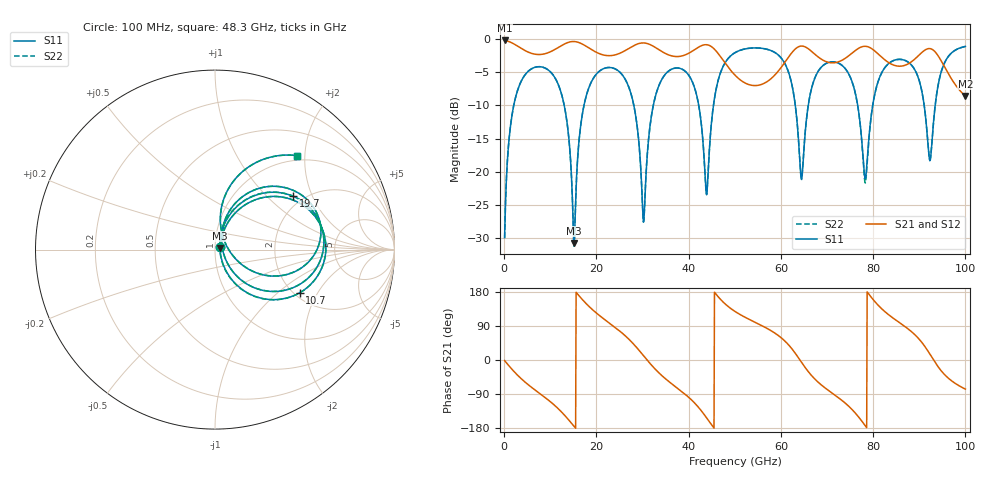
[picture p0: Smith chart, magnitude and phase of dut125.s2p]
! Touchstone file exported from HFSS 2026.1.0
!  File:  C:/ffzhzh/LocalFiles/Ansys_Project_Files/temp_train_TSV_RDL_125_1783459676_28540.aedt
!  Generated:  05:42:09 AM Jul  8, 2026
!  Design:  TSV_RDL
!  Project:  temp_train_TSV_RDL_125_1783459676_28540
! Variables:
!  h_bsmrdl = 2.55um
!  h_ox = 20um
!  h_rdl = 5um
!  h_sub = 59.6um
!  h_tmrdl = 2.54um
!  h_tsv = 59.6um
!  h_via = 3um
!  l_bsmrdl = 627.7um
!  l_sub = 4021.22um
!  l_tmrdl = 403.48um
!  m_sub = 200um
!  pitch = 55.99um
!  r_tsv = 5.22um
!  s_tmrdl = 10um
!  w_bsmrdl = 25.8um
!  w_sub = 500um
!  w_tmrdl = 15.6um
!  x_tsv_center1 = 411.28um
!  x_tsv_center2 = 1064.78um
!  x_tsv_center3 = 1483.86um
!  x_tsv_center4 = 2137.36um
!  x_tsv_center5 = 2556.44um
!  x_tsv_center6 = 3209.94um
# GHz S MA R 50.000000
! Terminal data exported
! Port[1] = TM_RDL1_1_T1
! Port[2] = TM_RDL5_1_T1
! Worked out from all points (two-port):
!   1000 points, 100 MHz to 100 GHz, reference 50 ohm
!   highest |S21| = -0.24 dB at 100 MHz (marker M1); lowest = -8.6 dB at 100 GHz (marker M2)
!   |S21| within 3 dB of the highest: start of sweep to 47.5 GHz; 73.2 GHz to 82.69 GHz (9.492 GHz wide, 12.2 % of centre) (the widest 2 of 4)
!   lowest |S11| = -30.7 dB at 15.2 GHz (marker M3), VSWR 1.06, Z = 52.8 + j0.994 ohm
!   |S11| at or under -10 dB: 13.02 GHz to 17.31 GHz (4.285 GHz wide, 28.3 % of centre); 28.11 GHz to 32.34 GHz (4.225 GHz wide, 14 % of centre); 42.18 GHz to 45.38 GHz (3.194 GHz wide, 7.3 % of centre) (the widest 3 of 7)
!   |S22| runs from -31.2 to -1.1 dB; largest |S21 - S12| = 9.3e-14
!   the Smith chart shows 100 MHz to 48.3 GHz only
!   S11 on the Smith chart (normalised r, x): 100 MHz: 1.05, +0.04; 10.7 GHz: 2.14, -1.43; 19.7 GHz: 1.78, +1.46; 48.3 GHz: 0.91, +1.83
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0.1  0.03188 32.1  0.9733 -1.5  0.9733 -1.5  0.03188 32.1
! Gamma 0 0 0 0
! Port Impedance 50 0 50 0
3.1  0.4283 43.7  0.8741 -42.4  0.8741 -42.4  0.4283 43.7
10.7  0.5298 -27.0  0.8216 -117.0  0.8216 -117.0  0.5298 -27.1
15.2  0.02911 18.8  0.9552 -175.6  0.9552 -175.6  0.02756 19.6
16.8  0.2511 64.4  0.9199 161.6  0.9199 161.6  0.2509 64.7
19.7  0.5276 34.2  0.8022 127.0  0.8022 127.0  0.5274 34.4
26.9  0.4449 -30.9  0.8423 56.5  0.8423 56.5  0.4449 -30.8
30.2  0.04181 4.7  0.9325 11.6  0.9325 11.6  0.04187 4.9
33.4  0.4315 53.1  0.8357 -32.1  0.8357 -32.1  0.4316 53.1
40.4  0.5075 -10.1  0.7935 -102.8  0.7935 -102.8  0.5075 -10.0
43.9  0.06712 28.5  0.9041 -152.8  0.9041 -152.8  0.06796 28.5
48.3  0.6934 49.1  0.6309 143.9  0.6309 143.9  0.6935 49.1
50.1  0.7895 34.6  0.5314 127.7  0.5314 127.7  0.7896 34.6
61.3  0.606 -39.4  0.7007 44.7  0.7007 44.7  0.6061 -39.2
64.4  0.08843 -14.2  0.8835 -4.8  0.8835 -4.8  0.09096 -13.9
66.7  0.4309 39.5  0.8025 -41.7  0.8025 -41.7  0.4315 39.1
74.3  0.5754 -23.4  0.7282 -117.5  0.7282 -117.5  0.5752 -23.9
78  0.1056 -22.6  0.879 -168.7  0.879 -168.7  0.1003 -24.7
83.4  0.6543 25.5  0.662 119.0  0.662 119.0  0.6539 25.9
89.8  0.5087 -24.7  0.7464 57.3  0.7464 57.3  0.509 -24.4
92.6  0.1429 39.9  0.8403 9.7  0.8403 9.7  0.1445 39.5
100  0.8775 10.5  0.372 -76.9  0.372 -76.9  0.8774 10.5
